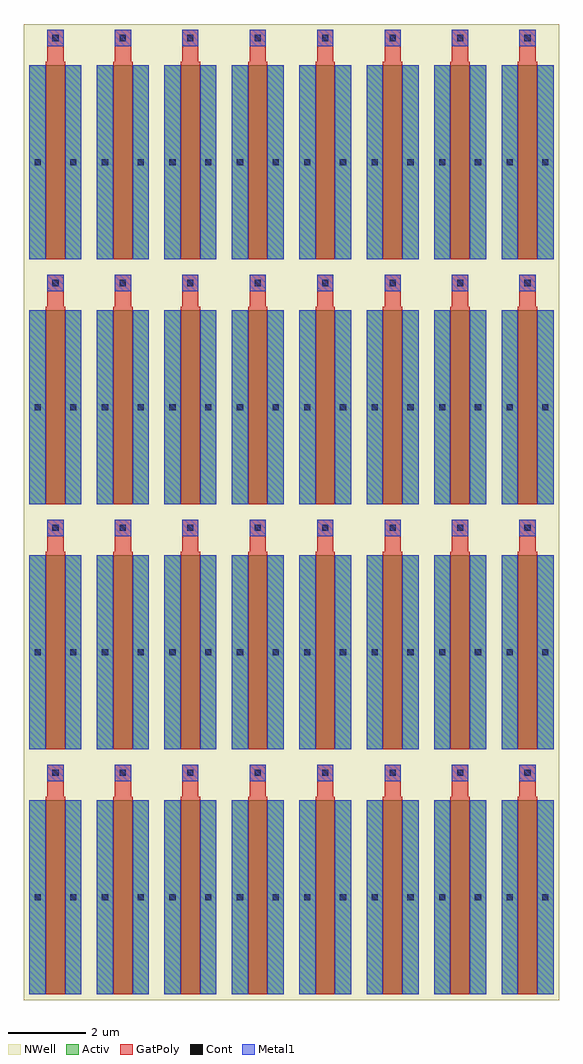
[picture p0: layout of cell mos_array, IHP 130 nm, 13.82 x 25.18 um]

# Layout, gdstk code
import gdstk
lib = gdstk.Library(unit=1e-6, precision=1e-09)
def R(c, l, rs):  # rectangles x0, y0, x1, y1
    for r in rs: c.add(gdstk.rectangle(r[:2], r[2:], *l))
def A(c, l, x, y, w, h, nx, ny, dx, dy):  # array of equal rectangles
    R(c, l, [(x+i*dx, y+j*dy, x+i*dx+w, y+j*dy+h) for i in range(nx) for j in range(ny)])
Activ = (1, 0)
GatPoly = (5, 0)
Cont = (6, 0)
Metal1 = (8, 0)
NWell = (31, 0)

mos_array = lib.new_cell('mos_array')
A(mos_array, Activ, 0, 0, 1.34, 5, 8, 4, 1.74, 6.32)
A(mos_array, GatPoly, 0.42, 0, 0.5, 5, 8, 4, 1.74, 6.32)
A(mos_array, GatPoly, 0.42, 5, 0.5, 0.1, 8, 4, 1.74, 6.32)
A(mos_array, GatPoly, 0.46, 5.1, 0.42, 0.82, 8, 4, 1.74, 6.32)
A(mos_array, Cont, 0.13, 2.42, 0.16, 0.16, 1, 4, 0, 6.32)
A(mos_array, Cont, 1.05, 2.42, 0.16, 0.16, 1, 4, 0, 6.32)
A(mos_array, Cont, 1.87, 2.42, 0.16, 0.16, 1, 4, 0, 6.32)
A(mos_array, Cont, 2.79, 2.42, 0.16, 0.16, 1, 4, 0, 6.32)
A(mos_array, Cont, 3.61, 2.42, 0.16, 0.16, 1, 4, 0, 6.32)
A(mos_array, Cont, 4.53, 2.42, 0.16, 0.16, 1, 4, 0, 6.32)
A(mos_array, Cont, 5.35, 2.42, 0.16, 0.16, 1, 4, 0, 6.32)
A(mos_array, Cont, 6.27, 2.42, 0.16, 0.16, 1, 4, 0, 6.32)
A(mos_array, Cont, 7.09, 2.42, 0.16, 0.16, 1, 4, 0, 6.32)
A(mos_array, Cont, 8.01, 2.42, 0.16, 0.16, 1, 4, 0, 6.32)
A(mos_array, Cont, 8.83, 2.42, 0.16, 0.16, 1, 4, 0, 6.32)
A(mos_array, Cont, 9.75, 2.42, 0.16, 0.16, 1, 4, 0, 6.32)
A(mos_array, Cont, 10.57, 2.42, 0.16, 0.16, 1, 4, 0, 6.32)
A(mos_array, Cont, 11.49, 2.42, 0.16, 0.16, 1, 4, 0, 6.32)
A(mos_array, Cont, 12.31, 2.42, 0.16, 0.16, 1, 4, 0, 6.32)
A(mos_array, Cont, 13.23, 2.42, 0.16, 0.16, 1, 4, 0, 6.32)
A(mos_array, Cont, 0.59, 5.63, 0.16, 0.16, 8, 4, 1.74, 6.32)
A(mos_array, Metal1, 0, 0, 0.42, 5, 1, 4, 0, 6.32)
A(mos_array, Metal1, 0.92, 0, 0.42, 5, 1, 4, 0, 6.32)
A(mos_array, Metal1, 1.74, 0, 0.42, 5, 1, 4, 0, 6.32)
A(mos_array, Metal1, 2.66, 0, 0.42, 5, 1, 4, 0, 6.32)
A(mos_array, Metal1, 3.48, 0, 0.42, 5, 1, 4, 0, 6.32)
A(mos_array, Metal1, 4.4, 0, 0.42, 5, 1, 4, 0, 6.32)
A(mos_array, Metal1, 5.22, 0, 0.42, 5, 1, 4, 0, 6.32)
A(mos_array, Metal1, 6.14, 0, 0.42, 5, 1, 4, 0, 6.32)
A(mos_array, Metal1, 6.96, 0, 0.42, 5, 1, 4, 0, 6.32)
A(mos_array, Metal1, 7.88, 0, 0.42, 5, 1, 4, 0, 6.32)
A(mos_array, Metal1, 8.7, 0, 0.42, 5, 1, 4, 0, 6.32)
A(mos_array, Metal1, 9.62, 0, 0.42, 5, 1, 4, 0, 6.32)
A(mos_array, Metal1, 10.44, 0, 0.42, 5, 1, 4, 0, 6.32)
A(mos_array, Metal1, 11.36, 0, 0.42, 5, 1, 4, 0, 6.32)
A(mos_array, Metal1, 12.18, 0, 0.42, 5, 1, 4, 0, 6.32)
A(mos_array, Metal1, 13.1, 0, 0.42, 5, 1, 4, 0, 6.32)
A(mos_array, Metal1, 0.46, 5.5, 0.42, 0.42, 8, 4, 1.74, 6.32)
R(mos_array, NWell, [(-0.15,-0.15,13.67,25.03)])

lib.write_gds('mos_array.gds')
